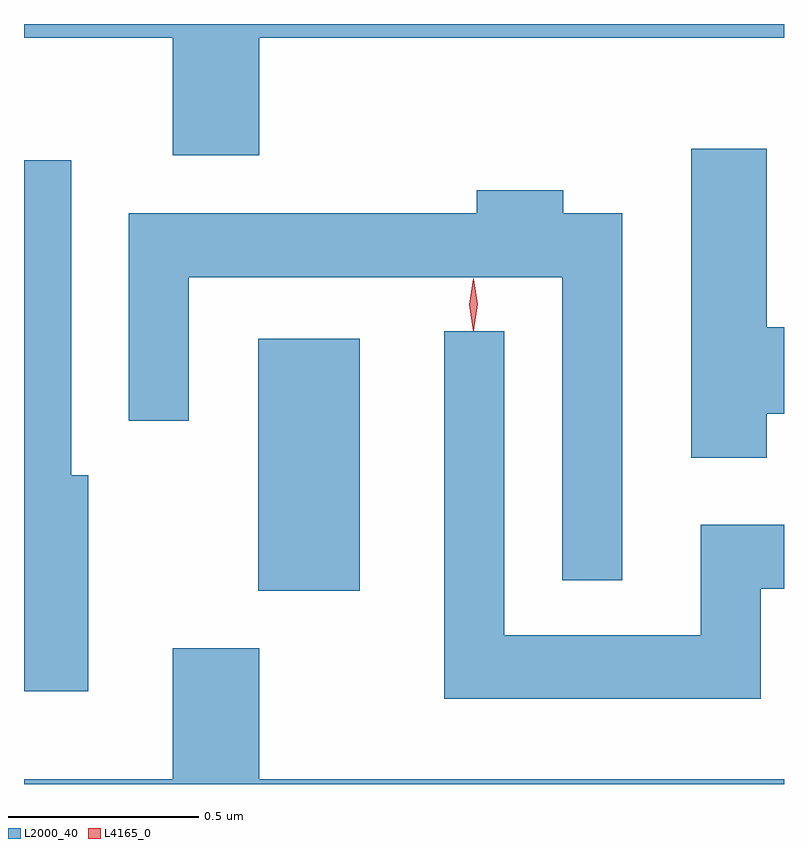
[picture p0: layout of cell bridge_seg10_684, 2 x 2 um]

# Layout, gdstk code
import gdstk
lib = gdstk.Library(unit=1e-6, precision=1e-09)
def R(c, l, rs):  # rectangles x0, y0, x1, y1
    for r in rs: c.add(gdstk.rectangle(r[:2], r[2:], *l))
def P(c, l, *ps):  # polygons
    for p in ps: c.add(gdstk.Polygon(p, *l))
L2000_40 = (2000, 40)
L4165_0 = (4165, 0)

bridge_seg10_684 = lib.new_cell('bridge_seg10_684')
R(bridge_seg10_684, L2000_40, [(957.856,2101.361,958.124,2102.024)])
P(bridge_seg10_684, L2000_40, [(957.859,2102.816),(959.24,2102.816),(959.24,2102.852),(957.24,2102.852),(957.24,2102.816),(957.631,2102.816),(957.631,2102.506),(957.859,2102.506)],
  [(959.194,2101.826),(959.24,2101.826),(959.24,2102.054),(959.194,2102.054),(959.194,2102.524),(958.996,2102.524),(958.996,2101.711),(959.194,2101.711)],
  [(957.409,2101.664),(957.364,2101.664),(957.364,2102.493),(957.24,2102.493),(957.24,2101.096),(957.409,2101.096)],
  [(958.814,2102.354),(958.659,2102.354),(958.659,2102.414),(958.431,2102.414),(958.431,2102.354),(957.516,2102.354),(957.516,2101.808),(957.674,2101.808),(957.674,2102.186),(958.656,2102.186),(958.656,2101.388),(958.814,2101.388)],
  [(959.179,2101.366),(959.24,2101.366),(959.24,2101.534),(959.021,2101.534),(959.021,2101.244),(958.504,2101.244),(958.504,2102.043),(958.346,2102.043),(958.346,2101.076),(959.179,2101.076)],
  [(959.24,2100.864),(957.859,2100.864),(957.859,2101.209),(957.631,2101.209),(957.631,2100.864),(957.24,2100.864),(957.24,2100.852),(959.24,2100.852)])
P(bridge_seg10_684, L4165_0, [(958.422,2102.044),(958.422,2102.044),(958.412,2102.113),(958.422,2102.182),(958.422,2102.183),(958.423,2102.182),(958.432,2102.113),(958.423,2102.044)],
  [(958.424,2102.047),(958.423,2102.048),(958.414,2102.114),(958.423,2102.18),(958.424,2102.181),(958.424,2102.18),(958.434,2102.114),(958.424,2102.048)])

lib.write_gds('bridge_seg10_684.gds')
